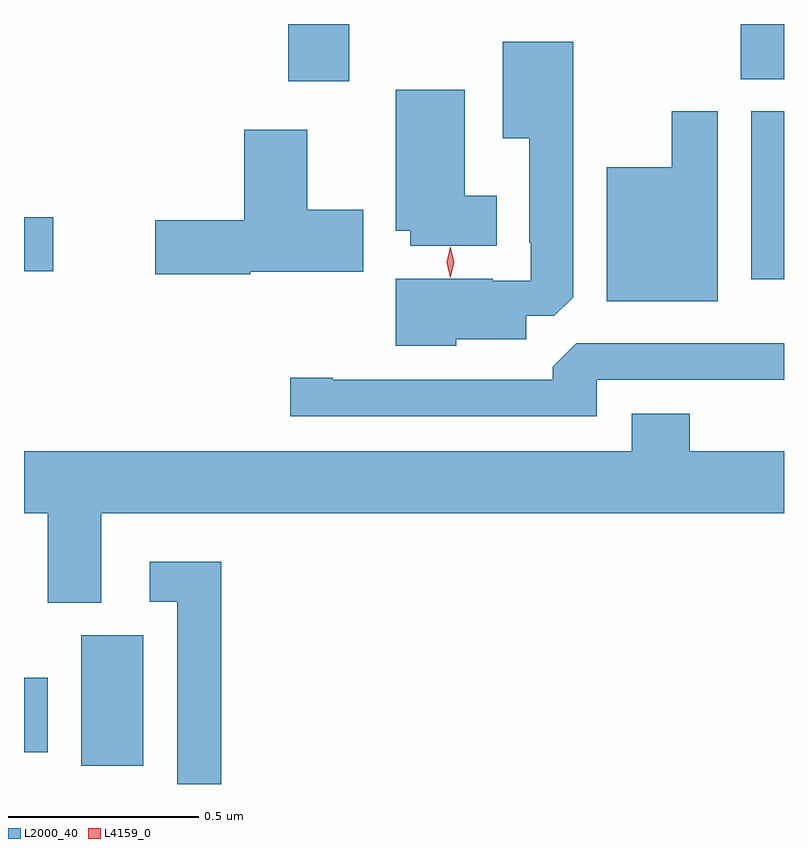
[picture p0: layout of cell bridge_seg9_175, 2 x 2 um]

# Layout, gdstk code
import gdstk
lib = gdstk.Library(unit=1e-6, precision=1e-09)
def R(c, l, rs):  # rectangles x0, y0, x1, y1
    for r in rs: c.add(gdstk.rectangle(r[:2], r[2:], *l))
def P(c, l, *ps):  # polygons
    for p in ps: c.add(gdstk.Polygon(p, *l))
L2000_40 = (2000, 40)
L4159_0 = (4159, 0)

bridge_seg9_175 = lib.new_cell('bridge_seg9_175')
R(bridge_seg9_175, L2000_40, [(169.358,1231.72,169.522,1232.064), (169.208,1231.755,169.27,1231.951), (171.122,1233,171.208,1233.442), (169.208,1233.022,169.285,1233.164), (169.904,1233.522,170.064,1233.672), (171.094,1233.527,171.208,1233.672)])
P(bridge_seg9_175, L2000_40, [(170.346,1232.843),(170.53,1232.843),(170.53,1232.904),(170.604,1232.904),(170.653,1232.953),(170.653,1233.625),(170.468,1233.625),(170.468,1233.371),(170.537,1233.371),(170.537,1233.097),(170.541,1233.097),(170.541,1232.997),(170.441,1232.997),(170.441,1233.001),(170.186,1233.001),(170.186,1232.825),(170.346,1232.825)],
  [(170.452,1233.22),(170.368,1233.22),(170.368,1233.499),(170.186,1233.499),(170.186,1233.128),(170.225,1233.128),(170.225,1233.089),(170.452,1233.089)],
  [(171.034,1233.442),(170.912,1233.442),(170.912,1233.295),(170.741,1233.295),(170.741,1232.942),(171.034,1232.942)],
  [(169.803,1233.02),(170.101,1233.02),(170.101,1233.183),(169.954,1233.183),(169.954,1233.394),(169.787,1233.394),(169.787,1233.155),(169.554,1233.155),(169.554,1233.013),(169.803,1233.013)],
  [(170.715,1232.736),(171.208,1232.736),(171.208,1232.832),(170.661,1232.832),(170.6,1232.77),(170.6,1232.736),(170.02,1232.736),(170.02,1232.741),(169.908,1232.741),(169.908,1232.64),(170.715,1232.64)],
  [(169.411,1232.384),(171.208,1232.384),(171.208,1232.548),(170.96,1232.548),(170.96,1232.647),(170.807,1232.647),(170.807,1232.548),(169.208,1232.548),(169.208,1232.384),(169.271,1232.384),(169.271,1232.149),(169.411,1232.149)],
  [(169.727,1232.257),(169.539,1232.257),(169.539,1232.151),(169.611,1232.151),(169.611,1231.672),(169.727,1231.672)])
P(bridge_seg9_175, L4159_0, [(170.33,1233.004),(170.33,1233.004),(170.32,1233.045),(170.33,1233.086),(170.33,1233.086),(170.33,1233.086),(170.34,1233.045),(170.33,1233.004)])

lib.write_gds('bridge_seg9_175.gds')
